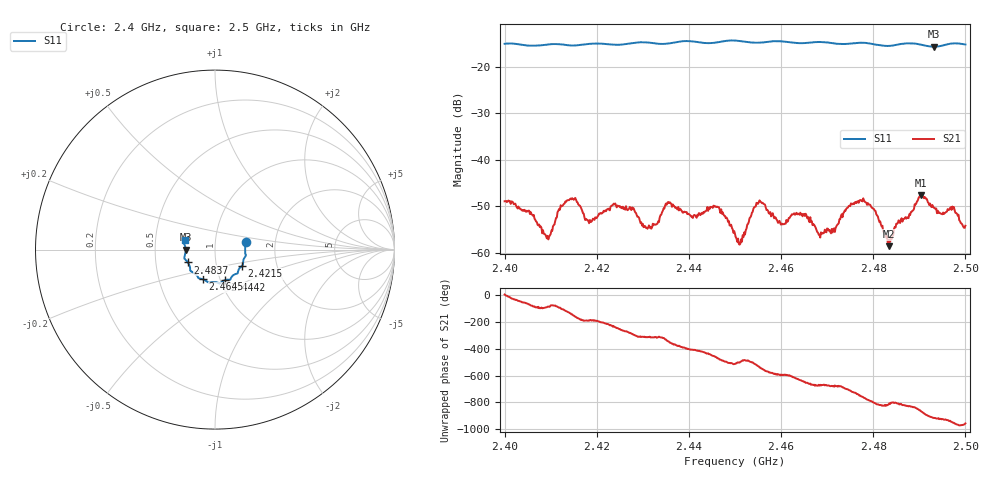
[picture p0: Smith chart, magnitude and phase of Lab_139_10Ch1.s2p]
# Hz S RI R
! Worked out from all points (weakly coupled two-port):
!   601 points, 2.4 GHz to 2.5 GHz, reference 50 ohm
!   highest |S21| = -47.70 dB at 2.4903 GHz (marker M1); lowest = -58.6 dB at 2.4833 GHz (marker M2)
!   lowest |S11| = -15.7 dB at 2.4932 GHz (marker M3), VSWR 1.39, Z = 35.9 - j0.0541 ohm
!   |S11| at or under -10 dB: start of sweep to end of sweep
!   S12 and S22 are empty: the file has one direction only
!   S11 on the Smith chart (normalised r, x): 2.4 GHz: 1.41, +0.12; 2.4215 GHz: 1.33, -0.25; 2.4442 GHz: 1.05, -0.37; 2.4645 GHz: 0.83, -0.29; 2.4837 GHz: 0.73, -0.11; 2.5 GHz: 0.71, +0.07
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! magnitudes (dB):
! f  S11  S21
! 2.4 GHz  -15.1  -49.0
! 2.4093 GHz  -15.3  -56.4
! 2.4133 GHz  -15.4  -49.1
! 2.4167 GHz  -15.3  -50.5
! 2.4185 GHz  -15.1  -53.0
! 2.4215 GHz  -15.1  -51.0
! 2.4333 GHz  -15.1  -53.3
! 2.4355 GHz  -15.0  -49.1
! 2.4442 GHz  -15.0  -51.0
! 2.45 GHz  -14.4  -56.0
! 2.4513 GHz  -14.5  -57.1
! 2.4552 GHz  -14.9  -49.1
! 2.4603 GHz  -14.6  -53.9
! 2.4645 GHz  -15.0  -51.7
! 2.4667 GHz  -14.8  -53.2
! 2.4712 GHz  -15.0  -55.7
! 2.4775 GHz  -14.9  -48.7
! 2.4833 GHz  -15.6  -58.6
! 2.4837 GHz  -15.5  -57.7
! 2.4903 GHz  -15.3  -47.7
! 2.4932 GHz  -15.7  -50.4
! 2.5 GHz  -15.2  -54.2
